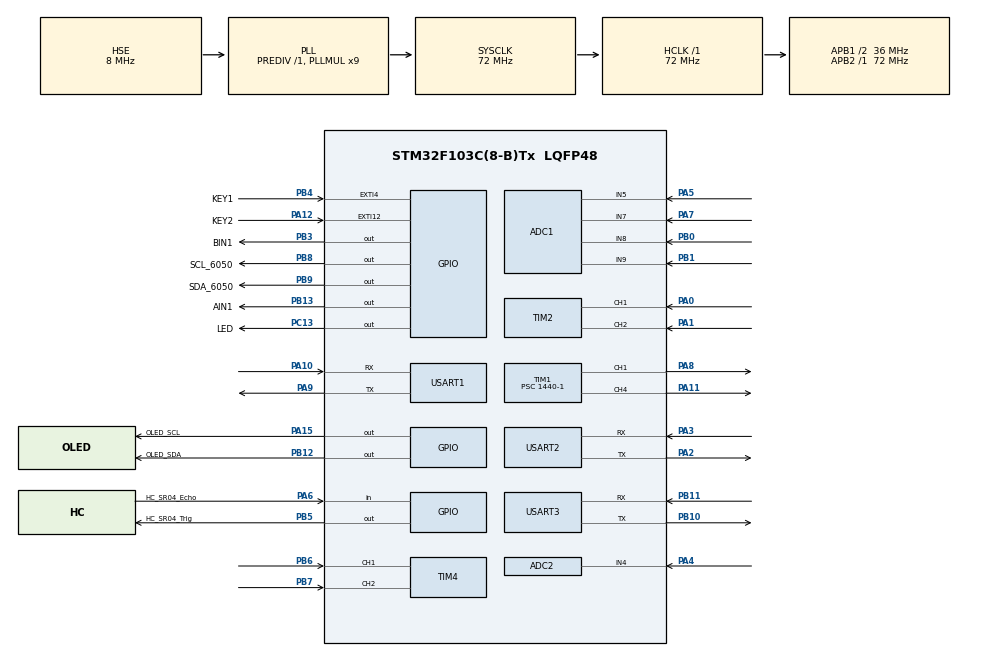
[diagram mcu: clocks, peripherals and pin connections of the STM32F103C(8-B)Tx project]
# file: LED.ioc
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ADC1.Channel-0\#ChannelRegularConversion=ADC_CHANNEL_5
ADC1.Channel-1\#ChannelRegularConversion=ADC_CHANNEL_7
ADC1.Channel-2\#ChannelRegularConversion=ADC_CHANNEL_8
ADC1.Channel-3\#ChannelRegularConversion=ADC_CHANNEL_9
ADC1.DiscontinuousConvMode=ENABLE
ADC1.NbrOfConversion=4
ADC1.NbrOfConversionFlag=1
ADC1.Rank-0\#ChannelRegularConversion=1
ADC1.Rank-1\#ChannelRegularConversion=2
ADC1.Rank-2\#ChannelRegularConversion=3
ADC1.Rank-3\#ChannelRegularConversion=4
ADC1.SamplingTime-0\#ChannelRegularConversion=ADC_SAMPLETIME_1CYCLE_5
ADC1.SamplingTime-1\#ChannelRegularConversion=ADC_SAMPLETIME_1CYCLE_5
ADC1.SamplingTime-2\#ChannelRegularConversion=ADC_SAMPLETIME_1CYCLE_5
ADC1.SamplingTime-3\#ChannelRegularConversion=ADC_SAMPLETIME_1CYCLE_5
ADC1.master=1
ADC2.Channel-0\#ChannelRegularConversion=ADC_CHANNEL_4
ADC2.NbrOfConversionFlag=1
ADC2.Rank-0\#ChannelRegularConversion=1
ADC2.SamplingTime-0\#ChannelRegularConversion=ADC_SAMPLETIME_13CYCLES_5
Dma.Request0=USART1_RX
Dma.USART1_RX.0.Direction=DMA_PERIPH_TO_MEMORY
Dma.USART1_RX.0.Instance=DMA1_Channel5
Dma.USART1_RX.0.MemDataAlignment=DMA_MDATAALIGN_BYTE
Dma.USART1_RX.0.MemInc=DMA_MINC_ENABLE
Dma.USART1_RX.0.Mode=DMA_NORMAL
Dma.USART1_RX.0.PeriphDataAlignment=DMA_PDATAALIGN_BYTE
Dma.USART1_RX.0.PeriphInc=DMA_PINC_DISABLE
Dma.USART1_RX.0.Priority=DMA_PRIORITY_LOW
Mcu.Family=STM32F1
Mcu.Name=STM32F103C(8-B)Tx
Mcu.Package=LQFP48
NVIC.DMA1_Channel5_IRQn=true\:0\:0\:false\:false\:true\:false\:true\:true
NVIC.EXTI15_10_IRQn=true\:2\:0\:true\:false\:true\:true\:true\:true
NVIC.EXTI4_IRQn=true\:2\:0\:true\:false\:true\:true\:true\:true
NVIC.PriorityGroup=NVIC_PRIORITYGROUP_4
NVIC.TIM1_UP_IRQn=true\:0\:0\:false\:false\:true\:true\:true\:true
NVIC.TIM2_IRQn=true\:0\:0\:false\:false\:true\:true\:true\:true
NVIC.TIM4_IRQn=true\:0\:0\:false\:false\:true\:true\:true\:true
NVIC.USART1_IRQn=true\:0\:0\:false\:false\:true\:true\:true\:true
NVIC.USART2_IRQn=true\:0\:0\:false\:false\:true\:true\:true\:true
NVIC.USART3_IRQn=true\:0\:0\:false\:false\:true\:true\:true\:true
PA0-WKUP.GPIO_PuPd=GPIO_PULLUP
PA0-WKUP.Signal=S_TIM2_CH1_ETR
PA1.GPIO_PuPd=GPIO_PULLUP
PA1.Signal=S_TIM2_CH2
PA10.Mode=Asynchronous
PA10.Signal=USART1_RX
PA11.Signal=S_TIM1_CH4
PA12.GPIO_Label=KEY2
PA12.GPIO_ModeDefaultEXTI=GPIO_MODE_IT_FALLING
PA12.GPIO_PuPd=GPIO_PULLUP
PA12.Signal=GPXTI12
PA13.Mode=Serial_Wire
PA13.Signal=SYS_JTMS-SWDIO
PA14.Mode=Serial_Wire
PA14.Signal=SYS_JTCK-SWCLK
PA15.GPIO_Label=OLED_SCL
PA15.GPIO_PuPd=GPIO_PULLUP
PA15.PinState=GPIO_PIN_SET
PA15.Signal=GPIO_Output
PA2.Mode=Asynchronous
PA2.Signal=USART2_TX
PA3.Mode=Asynchronous
PA3.Signal=USART2_RX
PA4.Signal=ADCx_IN4
PA5.Signal=ADCx_IN5
PA6.GPIO_Label=HC_SR04_Echo
PA6.Signal=GPIO_Input
PA7.Signal=ADCx_IN7
PA8.Signal=S_TIM1_CH1
PA9.Mode=Asynchronous
PA9.Signal=USART1_TX
PB0.Signal=ADCx_IN8
PB1.Signal=ADCx_IN9
PB10.Mode=Asynchronous
PB10.Signal=USART3_TX
PB11.Mode=Asynchronous
PB11.Signal=USART3_RX
PB12.GPIO_Label=OLED_SDA
PB12.GPIO_PuPd=GPIO_PULLUP
PB12.PinState=GPIO_PIN_SET
PB12.Signal=GPIO_Output
PB13.GPIO_Label=AIN1
PB13.Signal=GPIO_Output
PB3.GPIO_Label=BIN1
PB3.Signal=GPIO_Output
PB4.GPIO_Label=KEY1
PB4.GPIO_ModeDefaultEXTI=GPIO_MODE_IT_RISING
PB4.GPIO_PuPd=GPIO_PULLDOWN
PB4.Signal=GPXTI4
PB5.GPIO_Label=HC_SR04_Trig
PB5.Signal=GPIO_Output
PB6.GPIO_PuPd=GPIO_PULLUP
PB6.Signal=S_TIM4_CH1
PB7.GPIO_PuPd=GPIO_PULLUP
PB7.Signal=S_TIM4_CH2
PB8.GPIO_Label=SCL_6050
PB8.PinState=GPIO_PIN_SET
PB8.Signal=GPIO_Output
PB9.GPIO_Label=SDA_6050
PB9.PinState=GPIO_PIN_SET
PB9.Signal=GPIO_Output
PC13-TAMPER-RTC.GPIO_Label=LED
PC13-TAMPER-RTC.Signal=GPIO_Output
PD0-OSC_IN.Mode=HSE-External-Oscillator
PD0-OSC_IN.Signal=RCC_OSC_IN
PD1-OSC_OUT.Mode=HSE-External-Oscillator
PD1-OSC_OUT.Signal=RCC_OSC_OUT
ProjectManager.HeapSize=0x800
ProjectManager.StackSize=0x800
ProjectManager.TargetToolchain=MDK-ARM V5.32
RCC.ADCPresc=RCC_ADCPCLK2_DIV6
RCC.AHBFreq_Value=72000000
RCC.APB1CLKDivider=RCC_HCLK_DIV2
RCC.APB1Freq_Value=36000000
RCC.APB1TimFreq_Value=72000000
RCC.APB2Freq_Value=72000000
RCC.APB2TimFreq_Value=72000000
RCC.HCLKFreq_Value=72000000
RCC.PLLMUL=RCC_PLL_MUL9
RCC.PLLSourceVirtual=RCC_PLLSOURCE_HSE
RCC.SYSCLKFreq_VALUE=72000000
RCC.SYSCLKSource=RCC_SYSCLKSOURCE_PLLCLK
RCC.USBFreq_Value=72000000
SH.ADCx_IN4.0=ADC2_IN4,IN4
SH.ADCx_IN5.0=ADC1_IN5,IN5
SH.ADCx_IN7.0=ADC1_IN7,IN7
SH.ADCx_IN8.0=ADC1_IN8,IN8
SH.ADCx_IN9.0=ADC1_IN9,IN9
SH.S_TIM1_CH1.0=TIM1_CH1,PWM Generation1 CH1
SH.S_TIM1_CH4.0=TIM1_CH4,PWM Generation4 CH4
SH.S_TIM2_CH1_ETR.0=TIM2_CH1,Encoder_Interface
SH.S_TIM2_CH2.0=TIM2_CH2,Encoder_Interface
SH.S_TIM4_CH1.0=TIM4_CH1,Encoder_Interface
SH.S_TIM4_CH2.0=TIM4_CH2,Encoder_Interface
TIM1.AutoReloadPreload=TIM_AUTORELOAD_PRELOAD_ENABLE
TIM1.Channel-PWM\ Generation1\ CH1=TIM_CHANNEL_1
TIM1.Channel-PWM\ Generation4\ CH4=TIM_CHANNEL_4
TIM1.Period=100-1
TIM1.Prescaler=1440-1
TIM1.Pulse-PWM\ Generation1\ CH1=50
TIM1.Pulse-PWM\ Generation4\ CH4=50
TIM2.EncoderMode=TIM_ENCODERMODE_TI12
TIM2.IC1Filter=6
TIM2.IC2Filter=6
TIM4.EncoderMode=TIM_ENCODERMODE_TI12
TIM4.IC1Filter=6
TIM4.IC2Filter=6
USART1.VirtualMode=VM_ASYNC
USART2.VirtualMode=VM_ASYNC
USART3.VirtualMode=VM_ASYNC
VP_TIM1_VS_ClockSourceINT.Mode=Internal
board=custom

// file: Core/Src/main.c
/* USER CODE BEGIN Header */
/*
 * 文件功能：底盘 STM32 主程序入口。
 * 当前运行逻辑：初始化底盘外设，启动电机 PWM、编码器、USART1 接收、PID 和 MPU6050，
 * 主循环周期处理树莓派底盘命令与底盘控制任务。
 */
/* USER CODE END Header */
#include "main.h"
#include "adc.h"
#include "dma.h"
#include "tim.h"
#include "usart.h"
#include "gpio.h"

/* USER CODE BEGIN Includes */
#include "oled.h"
#include "stdio.h"
#include "motor.h"
#include "pid.h"
#include "base_control.h"
#include "mpu6050.h"
/* USER CODE END Includes */

/* USER CODE BEGIN PM */
uint8_t OledString[50];          // OLED 显示字符串缓冲区
uint8_t g_ucUsart3ReceiveData;   // USART3 单字节接收缓存，当前保留备用
uint8_t g_ucUsart2ReceiveData;   // USART2 单字节接收缓存，当前保留备用
uint8_t g_ucUsart1ReceiveData;   // USART1 接收树莓派命令的单字节缓存
uint8_t g_ucMode = 0;            // 树莓派控制模式标志
/* USER CODE END PM */

void SystemClock_Config(void);

/* USER CODE BEGIN 0 */

/**
* @brief  底盘主控运行说明
* @note   底盘通过 USART1 接收树莓派命令，并在主循环中执行底盘控制任务。
*/

/* USER CODE END 0 */

int main(void)
{

  /* MCU Configuration--------------------------------------------------------*/

  /* Reset of all peripherals, Initializes the Flash interface and the Systick. */
  HAL_Init();

  /* Configure the system clock */
  SystemClock_Config();

  /* Initialize all configured peripherals */
  MX_GPIO_Init();
  MX_DMA_Init();
  MX_USART1_UART_Init();
  MX_TIM1_Init();
  MX_TIM2_Init();
  MX_TIM4_Init();
  MX_ADC2_Init();
  MX_USART3_UART_Init();
  MX_USART2_UART_Init();
  MX_ADC1_Init();
  /* USER CODE BEGIN 2 */
  OLED_Init();
  OLED_Clear();

  HAL_TIM_PWM_Start(&htim1, TIM_CHANNEL_1);       // 启动左/右电机 PWM 输出
  HAL_TIM_PWM_Start(&htim1, TIM_CHANNEL_4);
  HAL_TIM_Encoder_Start(&htim2, TIM_CHANNEL_ALL); // 启动编码器接口
  HAL_TIM_Encoder_Start(&htim4, TIM_CHANNEL_ALL);
  HAL_TIM_Base_Start_IT(&htim2);
  HAL_TIM_Base_Start_IT(&htim4);
  HAL_TIM_Base_Start_IT(&htim1);                  // 定时执行电机速度闭环

  __HAL_UART_ENABLE_IT(&huart1, UART_IT_RXNE);    // USART1 接收树莓派命令
  HAL_UART_Receive_IT(&huart3, &g_ucUsart3ReceiveData, 1);
  HAL_UART_Receive_IT(&huart2, &g_ucUsart2ReceiveData, 1);
  __HAL_UART_ENABLE_IT(&huart2, UART_IT_ERR);

  PID_init();
  BaseControl_Stop();                             // 上电后保持底盘停止，等待树莓派命令

  HAL_Delay(500);                                 // 等待 MPU6050 上电稳定
  MPU_Init();
  /* USER CODE END 2 */

  /* Infinite loop */
  while (1)
  {

    /* USER CODE BEGIN 3 */
    BaseCmd_Task();                               // 处理树莓派通过 USART1 发来的底盘控制命令
    BaseControl_Task();                           // 按当前底盘状态执行周期控制任务

    sprintf((char *)OledString, " PiCtrl Mode ");
    OLED_ShowString(0, 6, OledString, 12);
    HAL_Delay(10);
  }
  /* USER CODE END 3 */
}

void SystemClock_Config(void)
{
  RCC_OscInitTypeDef RCC_OscInitStruct = {0};
  RCC_ClkInitTypeDef RCC_ClkInitStruct = {0};
  RCC_PeriphCLKInitTypeDef PeriphClkInit = {0};

  /** Initializes the RCC Oscillators according to the specified parameters
  * in the RCC_OscInitTypeDef structure.
  */
  RCC_OscInitStruct.OscillatorType = RCC_OSCILLATORTYPE_HSE;
  RCC_OscInitStruct.HSEState = RCC_HSE_ON;
  RCC_OscInitStruct.HSEPredivValue = RCC_HSE_PREDIV_DIV1;
  RCC_OscInitStruct.HSIState = RCC_HSI_ON;
  RCC_OscInitStruct.PLL.PLLState = RCC_PLL_ON;
  RCC_OscInitStruct.PLL.PLLSource = RCC_PLLSOURCE_HSE;
  RCC_OscInitStruct.PLL.PLLMUL = RCC_PLL_MUL9;
  if (HAL_RCC_OscConfig(&RCC_OscInitStruct) != HAL_OK)
  {
    Error_Handler();
  }

  /** Initializes the CPU, AHB and APB buses clocks
  */
  RCC_ClkInitStruct.ClockType = RCC_CLOCKTYPE_HCLK|RCC_CLOCKTYPE_SYSCLK
                              |RCC_CLOCKTYPE_PCLK1|RCC_CLOCKTYPE_PCLK2;
  RCC_ClkInitStruct.SYSCLKSource = RCC_SYSCLKSOURCE_PLLCLK;
  RCC_ClkInitStruct.AHBCLKDivider = RCC_SYSCLK_DIV1;
  RCC_ClkInitStruct.APB1CLKDivider = RCC_HCLK_DIV2;
  RCC_ClkInitStruct.APB2CLKDivider = RCC_HCLK_DIV1;

  if (HAL_RCC_ClockConfig(&RCC_ClkInitStruct, FLASH_LATENCY_2) != HAL_OK)
  {
    Error_Handler();
  }
  PeriphClkInit.PeriphClockSelection = RCC_PERIPHCLK_ADC;
  PeriphClkInit.AdcClockSelection = RCC_ADCPCLK2_DIV6;
  if (HAL_RCCEx_PeriphCLKConfig(&PeriphClkInit) != HAL_OK)
  {
    Error_Handler();
  }
}

void Error_Handler(void)
{
  __disable_irq();
  while (1)
  {
  }
}
